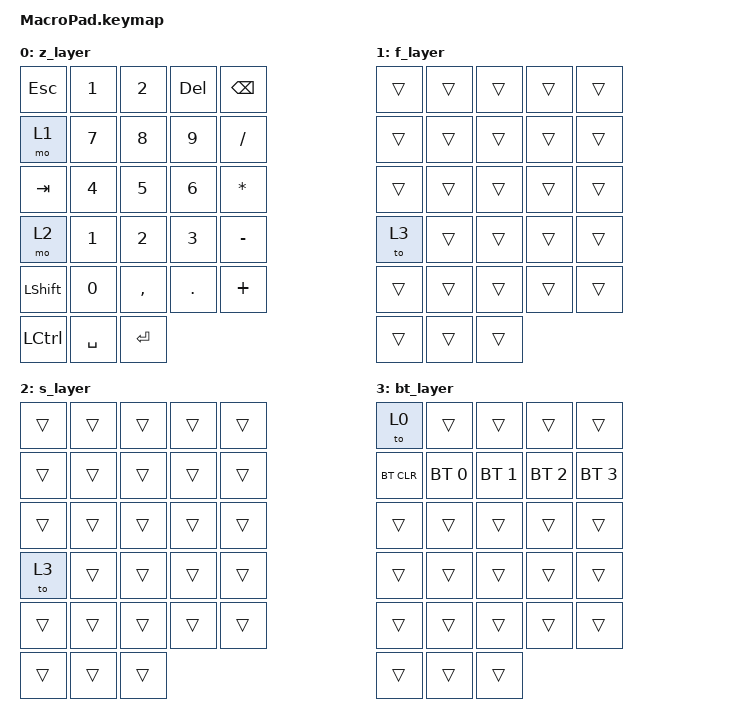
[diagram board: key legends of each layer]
#include <behaviors.dtsi>
#include <dt-bindings/zmk/keys.h>
#include <dt-bindings/zmk/bt.h>

/ {
    keymap {
        compatible = "zmk,keymap";

        z_layer {
            bindings = <
                 &kp ESC   &kp N1    &kp N2    &kp DEL   &kp BSPC  
                 &mo 1     &kp N7    &kp N8    &kp N9    &kp SLASH  
                 &kp TAB   &kp N4    &kp N5    &kp N6    &kp ASTERISK  
                 &mo 2     &kp N1    &kp N2    &kp N3    &kp MINUS  
                 &kp LSHFT &kp N0    &kp COMMA &kp DOT   &kp PLUS  
                 &kp LCTRL &kp SPACE &kp ENTER
            >;
        };

        f_layer {
            bindings = <  
                 &trans  &trans  &trans  &trans  &trans  
                 &trans  &trans  &trans  &trans  &trans  
                 &trans  &trans  &trans  &trans  &trans  
                 &to 3   &trans  &trans  &trans  &trans  
                 &trans  &trans  &trans  &trans  &trans  
                 &trans  &trans  &trans  
            >;
        };

        s_layer {
            bindings = <
                 &trans  &trans  &trans  &trans  &trans  
                 &trans  &trans  &trans  &trans  &trans  
                 &trans  &trans  &trans  &trans  &trans  
                 &to 3   &trans  &trans  &trans  &trans  
                 &trans  &trans  &trans  &trans  &trans  
                 &trans  &trans  &trans  
            >;
        };

        bt_layer {
            bindings = <
                 &to 0       &trans         &trans         &trans         &trans  
                 &bt BT_CLR  &bt BT_SEL 0   &bt BT_SEL 1   &bt BT_SEL 2   &bt BT_SEL 3  
                 &trans      &trans         &trans         &trans         &trans  
                 &trans      &trans         &trans         &trans         &trans  
                 &trans      &trans         &trans         &trans         &trans  
                 &trans             &trans                          &trans
            >;
        };
    };
};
